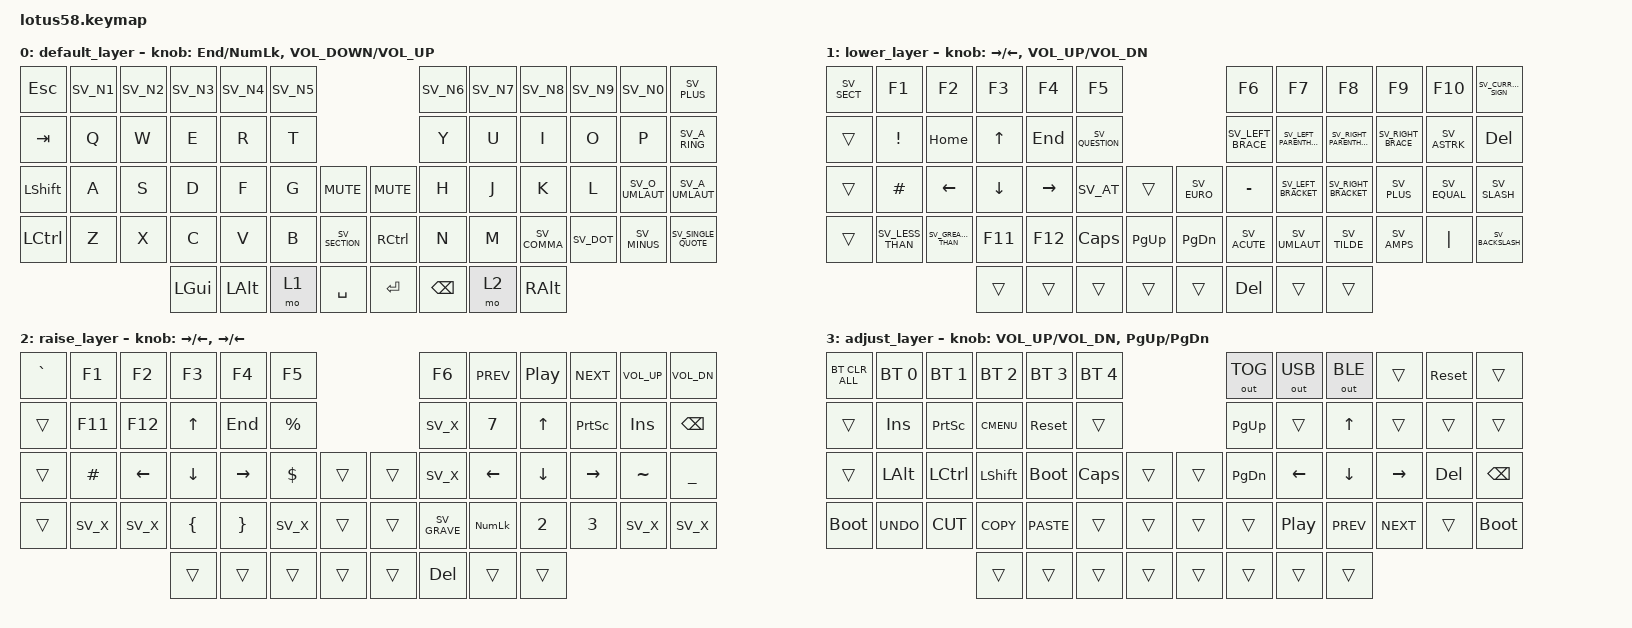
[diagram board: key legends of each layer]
/*
 * Copyright (c) 2022 The ZMK Contributors
 *
 * SPDX-License-Identifier: MIT
 */

#include "keys_sv.h"
#include <behaviors.dtsi>
#include <dt-bindings/zmk/bt.h>
#include <dt-bindings/zmk/keys.h>
#include <dt-bindings/zmk/outputs.h>

/ {
    combos {
        compatible = "zmk,combos";

        combo_dsklg {
            timeout-ms = <100>;
            key-positions = <24 52>;
            layers = <0>;
            bindings = <&kp LGUI>;
        };

        bckspc {
            bindings = <&kp BACKSPACE>;
            key-positions = <33 34>;
        };

        periodDot_num9Mute {
            bindings = <&kp NUMBER_9>;
            key-positions = <48 49>;
        };
    };

    behaviors {
        fofunc: four_ffour {
            compatible = "zmk,behavior-mod-morph";
            #binding-cells = <0>;
            bindings = <&kp N4>, <&kp F4>;

            mods = <(MOD_LALT|MOD_RALT)>;
        };

        sleft: s_left {
            compatible = "zmk,behavior-mod-morph";
            #binding-cells = <0>;
            bindings = <&kp S>, <&kp LEFT>;

            mods = <(MOD_LGUI|MOD_RGUI)>;
        };

        fright: f_right {
            compatible = "zmk,behavior-mod-morph";
            #binding-cells = <0>;
            bindings = <&kp F>, <&kp RIGHT>;

            mods = <(MOD_LGUI|MOD_RGUI)>;
        };

        bootlo: bootlo {
            compatible = "zmk,behavior-mod-morph";
            label = "BOOTLO";
            bindings = <&kp C_MUTE>, <&bootloader>;

            #binding-cells = <0>;
            mods = <(MOD_LCTL|MOD_LSFT|MOD_LALT|MOD_LGUI|MOD_RCTL|MOD_RSFT|MOD_RALT|MOD_RGUI)>;
        };

        bootloplay: bootloplay {
            compatible = "zmk,behavior-mod-morph";
            label = "BOOTLOPLAY";
            bindings = <&kp X>, <&bootloader>;

            #binding-cells = <0>;
            mods = <(MOD_LCTL|MOD_LSFT|MOD_LALT|MOD_LGUI|MOD_RCTL|MOD_RSFT|MOD_RALT|MOD_RGUI)>;
        };
    };

    keymap {
        compatible = "zmk,keymap";

        default_layer {
            //   ------------------------------------------------------------------------------------------------------------
            //  0|  ESC  |  1  |  2  |  3   |  4   |  5   |                     |  6   |  7    |  8    |  9   |   0   |   =   | 11
            // 12|  TAB  |  Q  |  W  |  E   |  R   |  T   |                     |  Y   |  U    |  I    |  O   |   P   |   [   | 23
            // 24|  SFT  |  A  |  S  |  D   |  F   |  G   |  RESET  |  | RESET  |  H   |  J    |  K    |  L   |   ;   | ' SFT | 37
            // 38|  CTRL |  Z  |  X  |  C   |  V   |  B   |  MUTE   |  | PLAY   |  N   |  M    |  ,    |  .   |   /   | \ CTRL| 51
            // 52                    |ENT RS|  ALT | SPACE|DELETE LW|  |ENTER RS| BSPC |  ] LW | RGUI  |                        59

            bindings = <
&kp ESC    &kp SV_N1  &kp SV_N2  &kp SV_N3     &kp SV_N4     &kp SV_N5                              &kp SV_N6      &kp SV_N7  &kp SV_N8      &kp SV_N9   &kp SV_N0        &kp SV_PLUS
&kp TAB    &kp Q      &kp W      &kp E         &kp R         &kp T                                  &kp Y          &kp U      &kp I          &kp O       &kp P            &kp SV_A_RING
&kp LSHFT  &kp A      &kp S      &kp D         &kp F         &kp G      &kp C_MUTE      &kp C_MUTE  &kp H          &kp J      &kp K          &kp L       &kp SV_O_UMLAUT  &kp SV_A_UMLAUT
&kp LCTRL  &kp Z      &kp X      &kp C         &kp V         &kp B      &kp SV_SECTION  &kp RCTRL   &kp N          &kp M      &kp SV_COMMA   &kp SV_DOT  &kp SV_MINUS     &kp SV_SINGLE_QUOTE
                                 &kp LEFT_GUI  &kp LEFT_ALT  &mo 1      &kp SPACE       &kp ENTER   &kp BACKSPACE  &mo 2      &kp RIGHT_ALT
            >;

            sensor-bindings =
                <&inc_dec_kp END KP_NUM>,
                <&inc_dec_kp C_VOLUME_DOWN C_VOLUME_UP>;
        };

        lower_layer {
            // ------------------------------------------------------------------------------------------------------------
            // | `     |  F1 |  F2 |  F3  |  F4  |  F5  |                   |  F6  |  F7   |  F8   |  F9  |  F10  |  F11  |
            // |       |  !  | HOME|   ^  |  END |  %   |                   | VOL^ |  PGUP |  INS  |  ^   |  PSCR |   -   |
            // |       |  #  |  <- |   v  | ->   |  $   |        |  |       | VOLv |    <- |   ^   |  ->  |   ~   |   _   |
            // |       |  @  |  -  |  (   |  )   |  &   |        |  |       | MUTE |  PGDN |   v   |  :   |   *   |   |   |
            //                     |  F11 |      |      |        |  |       |      |       |  F12  |

            bindings = <
&kp SV_SECT  &kp F1            &kp F2               &kp F3    &kp F4     &kp F5                                       &kp F6             &kp F7                   &kp F8                    &kp F9              &kp F10       &kp SV_CURRENCY_SIGN
&trans       &kp EXCL          &kp HOME             &kp UP    &kp END    &kp SV_QUESTION                              &kp SV_LEFT_BRACE  &kp SV_LEFT_PARENTHESIS  &kp SV_RIGHT_PARENTHESIS  &kp SV_RIGHT_BRACE  &kp SV_ASTRK  &kp DELETE
&trans       &kp HASH          &kp LEFT             &kp DOWN  &kp RIGHT  &kp SV_AT        &trans       &kp SV_EURO    &kp MINUS          &kp SV_LEFT_BRACKET      &kp SV_RIGHT_BRACKET      &kp SV_PLUS         &kp SV_EQUAL  &kp SV_SLASH
&trans       &kp SV_LESS_THAN  &kp SV_GREATER_THAN  &kp F11   &kp F12    &kp CAPSLOCK     &kp PAGE_UP  &kp PAGE_DOWN  &kp SV_ACUTE       &kp SV_UMLAUT            &kp SV_TILDE              &kp SV_AMPS         &kp PIPE      &kp SV_BACKSLASH
                                                    &trans    &trans     &trans           &trans       &trans         &kp DELETE         &trans                   &trans
            >;

            sensor-bindings = <&inc_dec_kp RIGHT LEFT &inc_dec_kp C_VOL_UP C_VOL_DN>;
        };

        raise_layer {
            // ------------------------------------------------------------------------------------------------------------
            // | `     |  F1 |  F2 |  F3  |  F4  |  F5  |                   |  F6  |  F7   |  F8   |  F9  |  F10  |  F11  |
            // |       |  !  | HOME|   ^  |  END |  %   |                   | VOL^ |  PGUP |  INS  |  ^   |  PSCR |   -   |
            // |       |  #  |  <- |   v  | ->   |  $   |        |  |       | VOLv |    <- |   ^   |  ->  |   ~   |   _   |
            // |       |  @  |  -  |  (   |  )   |  &   |        |  |       | MUTE |  PGDN |   v   |  :   |   *   |   |   |
            //                     |  F11 |      |      |        |  |       |      |       |  F12  |

            bindings = <
&kp GRAVE  &kp F1    &kp F2    &kp F3    &kp F4     &kp F5                     &kp F6        &kp C_PREV      &kp C_PLAY_PAUSE  &kp C_NEXT    &kp C_VOL_UP  &kp C_VOL_DN
&trans     &kp F11   &kp F12   &kp UP    &kp END    &kp PRCNT                  &kp SV_X      &kp N7          &kp UP            &kp PSCRN     &kp INSERT    &kp BACKSPACE
&trans     &kp HASH  &kp LEFT  &kp DOWN  &kp RIGHT  &kp DLLR   &trans  &trans  &kp SV_X      &kp LEFT_ARROW  &kp DOWN          &kp RIGHT     &kp TILDE     &kp UNDER
&trans     &kp SV_X  &kp SV_X  &kp LBRC  &kp RBRC   &kp SV_X   &trans  &trans  &kp SV_GRAVE  &kp KP_NUMLOCK  &kp NUMBER_2      &kp NUMBER_3  &kp SV_X      &kp SV_X
                               &trans    &trans     &trans     &trans  &trans  &kp DELETE    &trans          &trans
            >;

            sensor-bindings = <&inc_dec_kp RIGHT LEFT &inc_dec_kp RIGHT LEFT>;
        };

        adjust_layer {
            // ------------------------------------------------------------------------------------------------------------
            // |BTCLR| BT1  | BT2  |  BT3  |  BT4  |  BT5 |                |OUTTOG|OUTUSB| OUTBT |      | RESET | FLASH |
            // |     | INS  | PSCR | GUI   | RESET |      |                | PGUP |      |   ^   |      |       |       |
            // |     | ALT  | CTRL | SHIFT | FLASH | CAPS |      |  |      | PGDN |   <- |   v   |  ->  |  DEL  | BSPC  |
            // |     | UNDO | CUT  | COPY  | PASTE |      |      |  |      |      |  |>  |  <|<| | |>|> |       |       |
            //                     |       |       |      |      |  |      |      |      |       |

            bindings = <
&bt BT_CLR_ALL  &bt BT_SEL 0  &bt BT_SEL 1  &bt BT_SEL 2  &bt BT_SEL 3  &bt BT_SEL 4                  &out OUT_TOG  &out OUT_USB  &out OUT_BLE  &trans      &sys_reset  &trans
&trans          &kp INS       &kp PSCRN     &kp K_CMENU   &sys_reset    &trans                        &kp PG_UP     &trans        &kp UP        &trans      &trans      &trans
&trans          &kp LALT      &kp LCTRL     &kp LSHFT     &bootloader   &kp CLCK      &trans  &trans  &kp PG_DN     &kp LEFT      &kp DOWN      &kp RIGHT   &kp DEL     &kp BSPC
&bootloader     &kp K_UNDO    &kp K_CUT     &kp K_COPY    &kp K_PASTE   &trans        &trans  &trans  &trans        &kp C_PP      &kp C_PREV    &kp C_NEXT  &trans      &bootloader
                                            &trans        &trans        &trans        &trans  &trans  &trans        &trans        &trans
            >;

            sensor-bindings = <&inc_dec_kp C_VOL_UP C_VOL_DN &inc_dec_kp PG_UP PG_DN>;
        };
    };

    conditional_layers {
        compatible = "zmk,conditional-layers";

        l3 {
            if-layers = <1 2>;
            then-layer = <3>;
        };
    };
};
